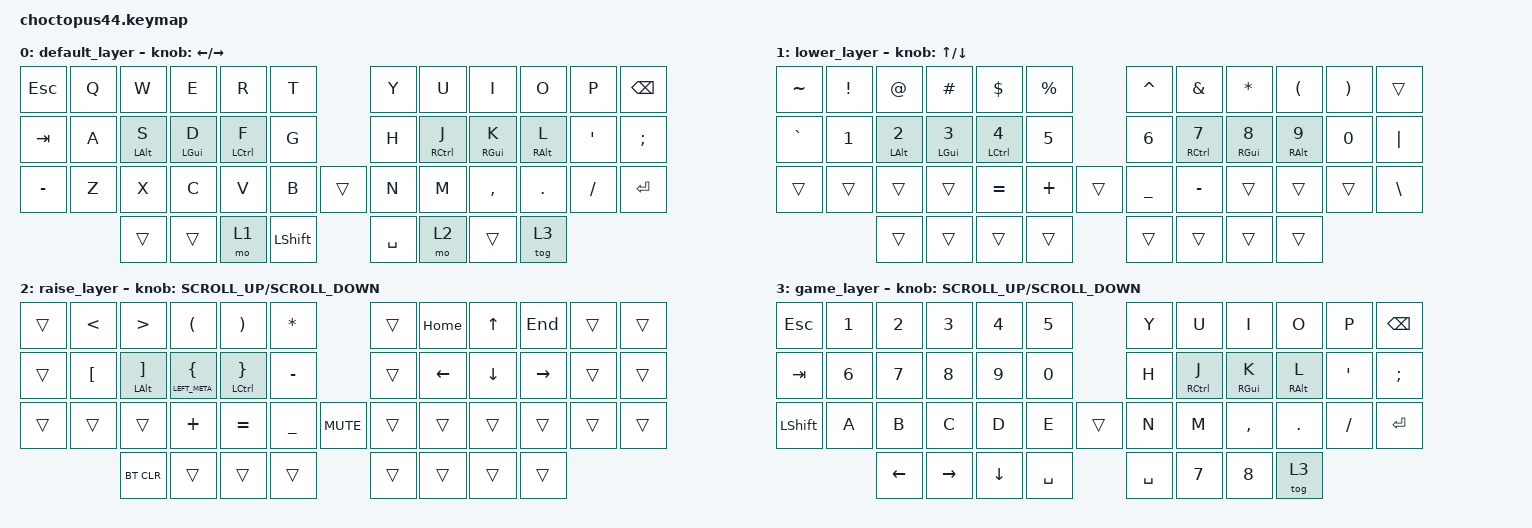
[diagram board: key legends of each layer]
/*
 * Copyright (c) 2021 The ZMK Contributors
 *
 * SPDX-License-Identifier: MIT
 */

#include <behaviors.dtsi>
#include <dt-bindings/zmk/rgb.h>
#include <dt-bindings/zmk/bt.h>

&mt {
    tapping-term-ms = <200>;
};

/* BEGIN PASTE FROM EDITOR */

#include <dt-bindings/zmk/keys.h>

/ {
    behaviors {
        hml: homerow_mods_left {
            compatible = "zmk,behavior-hold-tap";
            label = "HOMEROW_MODS_L";
            #binding-cells = <2>;
            tapping-term-ms = <200>;
            quick-tap-ms = <150>;
            flavor = "tap-preferred";
            bindings = <&kp>, <&kp>;
        };

        hmr: homerow_mods_right {
            compatible = "zmk,behavior-hold-tap";
            label = "HOMEROW_MODS_R";
            #binding-cells = <2>;
            tapping-term-ms = <200>;
            quick-tap-ms = <150>;
            flavor = "tap-preferred";
            bindings = <&kp>, <&kp>;
        };
    };

    keymap {
        compatible = "zmk,keymap";

        default_layer {
            bindings = <
&kp ESC    &kp Q  &kp W        &kp E        &kp R         &kp T              &kp Y      &kp U         &kp I        &kp O        &kp P     &kp BSPC
&kp TAB    &kp A  &hml LALT S  &hml LGUI D  &hml LCTRL F  &kp G              &kp H      &hmr RCTRL J  &hmr RGUI K  &hmr RALT L  &kp SQT   &kp SEMI
&kp MINUS  &kp Z  &kp X        &kp C        &kp V         &kp B    &trans    &kp N      &kp M         &kp COMMA    &kp DOT      &kp FSLH  &kp RET

                  &trans       &trans       &mo 1         &kp LSHFT          &kp SPACE  &mo 2         &trans       &tog 3
            >;

            sensor-bindings = <&inc_dec_kp LEFT RIGHT>;
        };

        lower_layer {
            bindings = <
&kp TILDE  &kp EXCL  &kp AT_SIGN   &kp POUND     &kp DOLLAR     &kp PERCENT          &kp CARET  &kp AMPERSAND  &kp ASTERISK  &kp LEFT_PARENTHESIS  &kp RIGHT_PARENTHESIS  &trans
&kp GRAVE  &kp N1    &hml LALT N2  &hml LGUI N3  &hml LCTRL N4  &kp N5               &kp N6     &hmr RCTRL N7  &hmr RGUI N8  &hmr RALT N9          &kp N0                 &kp PIPE
&trans     &trans    &trans        &trans        &kp EQUAL      &kp PLUS   &trans    &kp UNDER  &kp MINUS      &trans        &trans                &trans                 &kp BACKSLASH

                     &trans        &trans        &trans         &trans               &trans     &trans         &trans        &trans
            >;

            sensor-bindings = <&inc_dec_kp UP DOWN>;
        };

        raise_layer {
            bindings = <
&trans  &kp LESS_THAN     &kp GREATER_THAN             &kp LEFT_PARENTHESIS       &kp RIGHT_PARENTHESIS          &kp ASTERISK              &trans  &kp HOME  &kp UP    &kp END    &trans  &trans
&trans  &kp LEFT_BRACKET  &hml LEFT_ALT RIGHT_BRACKET  &hml LEFT_META LEFT_BRACE  &hml LEFT_CONTROL RIGHT_BRACE  &kp MINUS                 &trans  &kp LEFT  &kp DOWN  &kp RIGHT  &trans  &trans
&trans  &trans            &trans                       &kp PLUS                   &kp EQUAL                      &kp UNDER     &kp C_MUTE  &trans  &trans    &trans    &trans     &trans  &trans

                          &bt BT_CLR                       &trans                     &trans                         &trans                    &trans  &trans    &trans    &trans
            >;

            sensor-bindings = <&inc_dec_kp K_SCROLL_UP K_SCROLL_DOWN>;
        };

                game_layer {
            bindings = <   
&kp ESC     &kp N1      &kp N2        &kp N3        &kp N4        &kp N5                  &kp Y      &kp U         &kp I        &kp O        &kp P     &kp BSPC
&kp TAB     &kp N6      &kp N7        &kp N8        &kp N9        &kp N0                  &kp H      &hmr RCTRL J  &hmr RGUI K  &hmr RALT L  &kp SQT   &kp SEMI
&kp LSHIFT  &kp A       &kp B         &kp C         &kp D         &kp E       &trans      &kp N      &kp M         &kp COMMA    &kp DOT      &kp FSLH  &kp RET

                        &kp LEFT      &kp RIGHT     &kp DOWN      &kp SPACE               &kp SPACE     &kp N7        &kp N8       &tog 3
            >;

            sensor-bindings = <&inc_dec_kp K_SCROLL_UP K_SCROLL_DOWN>;
        };
    };
};

